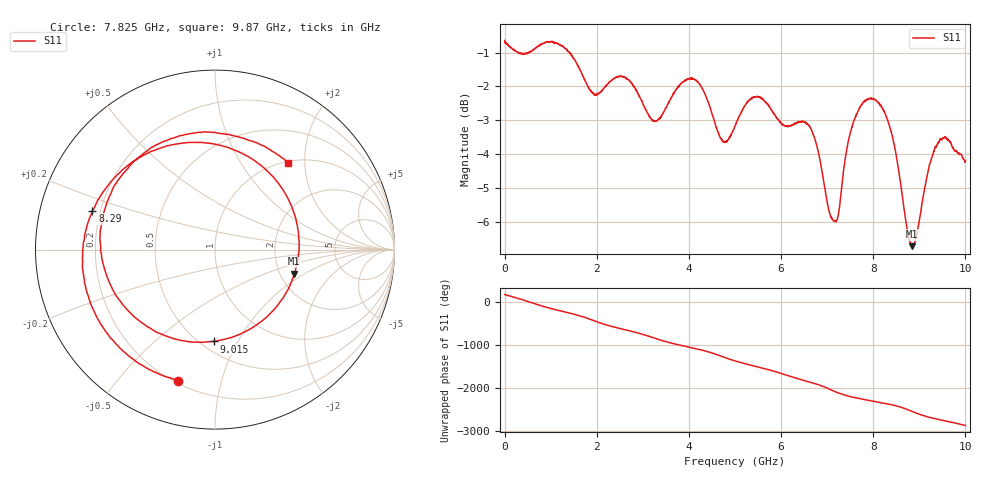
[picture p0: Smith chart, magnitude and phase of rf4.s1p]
!Keysight Technologies,M9375A,MY54321142,A.14.10.03
!Date: Thursday, September 11, 2025 11:50:57
!Correction: S11(C  2-Port  )
!S1P File: Measurement: :
# Hz S  dB  R 50
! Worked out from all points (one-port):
!   2001 points, 1 MHz to 10 GHz, reference 50 ohm
!   lowest |S11| = -6.7 dB at 8.84 GHz (marker M1), VSWR 2.72, Z = 119 - j41 ohm
!   |S11| at or under -10 dB: nowhere
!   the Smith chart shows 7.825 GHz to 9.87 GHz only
!   S11 on the Smith chart (normalised r, x): 7.825 GHz: 0.21, -0.73; 8.29 GHz: 0.17, +0.15; 9.015 GHz: 0.58, -0.80; 9.87 GHz: 1.03, +1.65
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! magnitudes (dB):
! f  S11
! 1 MHz  -0.6
! 391 MHz  -1.1
! 1.251 GHz  -0.8
! 1.941 GHz  -2.2
! 2.501 GHz  -1.7
! 3.251 GHz  -3.0
! 3.751 GHz  -2.0
! 4.196 GHz  -1.9
! 4.746 GHz  -3.6
! 5 GHz  -3.2
! 5.455 GHz  -2.3
! 6.25 GHz  -3.1
! 6.675 GHz  -3.3
! 7.045 GHz  -5.7
! 7.16 GHz  -6.0
! 7.245 GHz  -5.8
! 7.5 GHz  -3.4
! 7.825 GHz  -2.4
! 8.29 GHz  -2.9
! 8.48 GHz  -3.9
! 8.75 GHz  -6.3
! 8.84 GHz  -6.7
! 9.015 GHz  -5.8
! 9.21 GHz  -4.4
! 9.4 GHz  -3.7
! 9.585 GHz  -3.5
! 9.87 GHz  -4.0
! 10 GHz  -4.2
